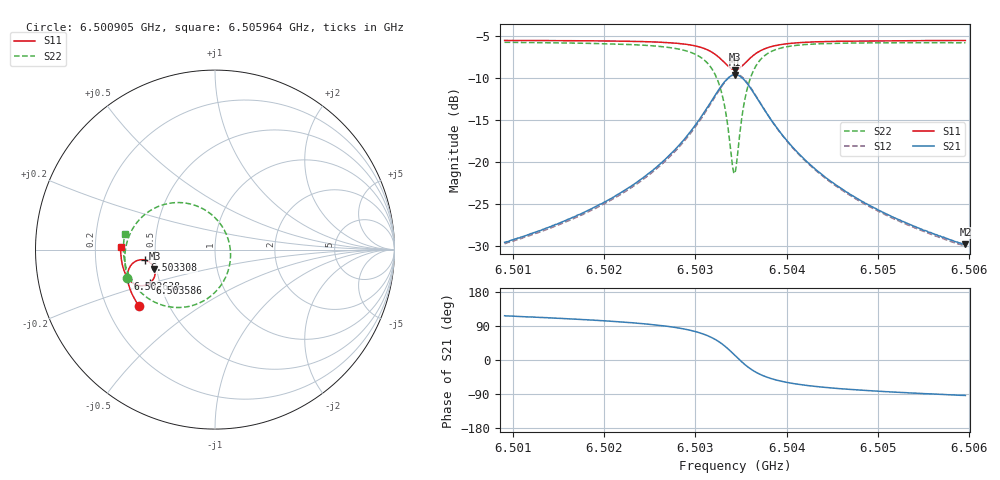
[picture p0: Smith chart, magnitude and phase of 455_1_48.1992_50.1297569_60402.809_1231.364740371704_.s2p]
#  HZ  S  RI  R  50.00
! Rohde & Schwarz Vector Network Analyzer
! Rohde-Schwarz,ZNB20-2Port,1311601062101988,3.16
! Created: UTC 3/20/2024, 11:56:30 AM
! freq[Hz]  re:S11  im:S11  re:S21  im:S21  re:S12  im:S12  re:S22  im:S22
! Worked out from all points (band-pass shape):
!   401 points, 6.500905 GHz to 6.505964 GHz, reference 50 ohm
!   highest |S21| = -9.64 dB at 6.503435 GHz (marker M1); lowest = -29.8 dB at 6.505964 GHz (marker M2)
!   |S21| within 3 dB of the highest: 6.503184 GHz to 6.503689 GHz (505.2 kHz wide, 0.00777 % of centre)
!   lowest |S11| = -9.0 dB at 6.503435 GHz (marker M3), VSWR 2.09, Z = 24.3 - j5.89 ohm
!   |S11| at or under -10 dB: nowhere
!   |S22| runs from -21.4 to -5.8 dB; largest |S21 - S12| = 0.012
!   S11 on the Smith chart (normalised r, x): 6.500905 GHz: 0.34, -0.29; 6.502638 GHz: 0.33, -0.14; 6.503308 GHz: 0.44, -0.06; 6.503586 GHz: 0.44, -0.20; 6.505964 GHz: 0.31, +0.01
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6.5009051e9  -0.4244 -0.3117  -0.015 0.0297  -0.0133 0.0299  -0.4882 -0.1591
6.5017525e9  -0.4613 -0.2495  -0.0143 0.0474  -0.012 0.0469  -0.5021 -0.0698
6.5021951e9  -0.4769 -0.2106  -0.0117 0.0653  -0.00874 0.0642  -0.5001 -0.0082
6.5025998e9  -0.4869 -0.1667  -0.00268 0.0959  0.001 0.0937  -0.4806 0.071
6.5026378e9  -0.4874 -0.1617  -0.000905 0.1  0.00278 0.0976  -0.4768 0.0804
6.502916e9  -0.4836 -0.1187  0.0255 0.1423  0.0294 0.1378  -0.4222 0.1661
6.5031057e9  -0.4627 -0.0808  0.079 0.1844  0.0815 0.1783  -0.32 0.2386
6.5032195e9  -0.4304 -0.0599  0.1473 0.2024  0.1482 0.1961  -0.1968 0.2619
6.503308e9  -0.3902 -0.0576  0.2266 0.1871  0.2269 0.1821  -0.06 0.2234
6.503346e9  -0.3709 -0.0651  0.2629 0.1645  0.2638 0.16  0.000263 0.1774
6.5034092e9  -0.3437 -0.0913  0.3115 0.1013  0.3141 0.0964  0.0739 0.0558
6.5034345e9  -0.3372 -0.1059  0.3223 0.0691  0.3254 0.0634  0.0857 -0.00433
6.5034598e9  -0.3339 -0.1217  0.3263 0.0353  0.3298 0.0286  0.0846 -0.0659
6.503523e9  -0.3405 -0.1591  0.3089 -0.0431  0.3112 -0.0531  0.0306 -0.2026
6.5035863e9  -0.3617 -0.1856  0.2663 -0.0979  0.2653 -0.1094  -0.0658 -0.287
6.5036875e9  -0.4013 -0.2012  0.1911 -0.1349  0.186 -0.1446  -0.2168 -0.3226
6.5038519e9  -0.4478 -0.1918  0.1089 -0.1322  0.1019 -0.1373  -0.365 -0.2763
6.5040289e9  -0.4753 -0.1704  0.0642 -0.1121  0.0579 -0.1144  -0.4377 -0.2115
6.5042819e9  -0.4963 -0.1404  0.0341 -0.0877  0.0293 -0.0884  -0.481 -0.1392
6.5046613e9  -0.5118 -0.1011  0.015 -0.0644  0.0116 -0.0642  -0.5038 -0.0643
6.5051292e9  -0.5212 -0.0577  0.00499 -0.0479  0.00279 -0.0472  -0.5099 0.00145
6.5059639e9  -0.5261 0.0128  -0.00204 -0.0323  -0.00338 -0.0314  -0.5021 0.0894
